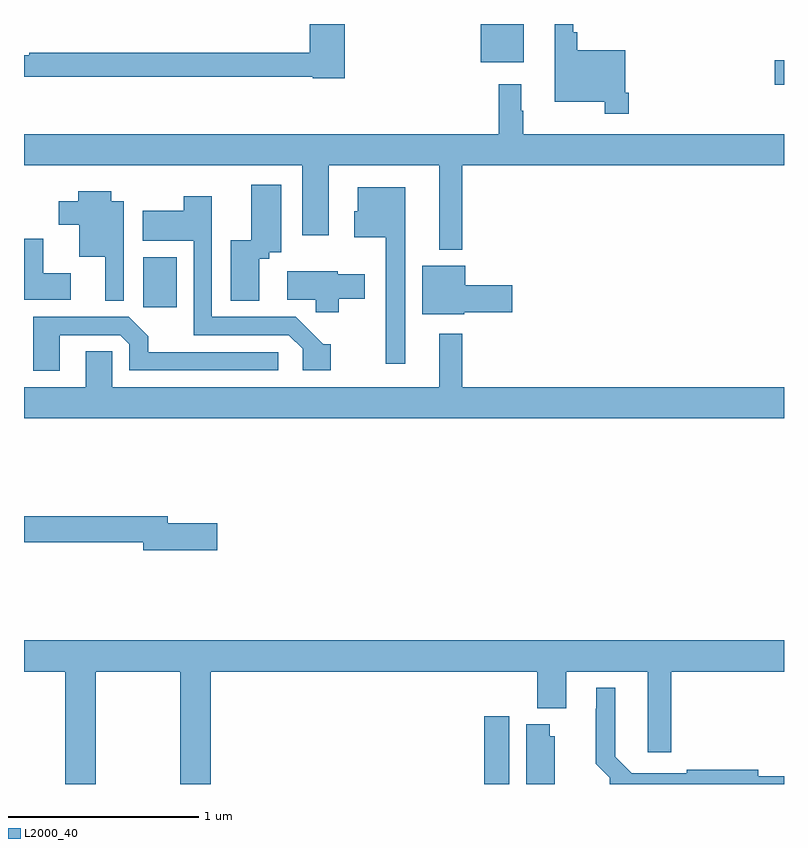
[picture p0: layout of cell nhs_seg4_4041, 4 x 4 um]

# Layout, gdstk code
import gdstk
lib = gdstk.Library(unit=1e-6, precision=1e-09)
def R(c, l, rs):  # rectangles x0, y0, x1, y1
    for r in rs: c.add(gdstk.rectangle(r[:2], r[2:], *l))
def P(c, l, *ps):  # polygons
    for p in ps: c.add(gdstk.Polygon(p, *l))
L2000_40 = (2000, 40)

nhs_seg4_4041 = lib.new_cell('nhs_seg4_4041')
R(nhs_seg4_4041, L2000_40, [(327.422,790.9,327.553,791.257), (325.628,793.409,325.804,793.672), (328.95,794.579,329,794.709), (327.404,794.699,327.631,794.9)])
P(nhs_seg4_4041, L2000_40, [(326.687,794.9),(326.504,794.9),(326.504,794.75),(325.028,794.75),(325.028,794.735),(325,794.735),(325,794.622),(326.52,794.622),(326.52,794.614),(326.687,794.614)],
  [(328.184,794.539),(328.164,794.539),(328.164,794.761),(327.911,794.761),(327.911,794.857),(327.891,794.857),(327.891,794.9),(327.794,794.9),(327.794,794.492),(328.056,794.492),(328.056,794.427),(328.184,794.427)],
  [(327.307,794.156),(329,794.156),(329,794.32),(327.628,794.32),(327.628,794.444),(327.616,794.444),(327.616,794.584),(327.499,794.584),(327.499,794.32),(325,794.32),(325,794.156),(326.465,794.156),(326.465,793.788),(326.605,793.788),(326.605,794.156),(327.185,794.156),(327.185,793.712),(327.307,793.712)],
  [(326.239,793.665),(326.292,793.665),(326.292,793.7),(326.353,793.7),(326.353,794.053),(326.195,794.053),(326.195,793.761),(326.087,793.761),(326.087,793.444),(326.239,793.444)],
  [(327.007,794.041),(326.756,794.041),(326.756,793.914),(326.738,793.914),(326.738,793.778),(326.903,793.778),(326.903,793.113),(327.007,793.113)],
  [(325.524,793.966),(325.458,793.966),(325.458,794.02),(325.285,794.02),(325.285,793.966),(325.184,793.966),(325.184,793.844),(325.292,793.844),(325.292,793.676),(325.427,793.676),(325.427,793.444),(325.524,793.444)],
  [(326.614,793.214),(326.575,793.214),(326.43,793.359),(325.989,793.359),(325.989,793.993),(325.84,793.993),(325.84,793.918),(325.625,793.918),(325.625,793.76),(325.893,793.76),(325.893,793.263),(326.394,793.263),(326.466,793.191),(326.466,793.077),(326.614,793.077)],
  [(325.246,793.588),(325.102,793.588),(325.102,793.771),(325,793.771),(325,793.448),(325.246,793.448)],
  [(327.318,793.384),(327.571,793.384),(327.571,793.526),(327.322,793.526),(327.322,793.627),(327.095,793.627),(327.095,793.373),(327.318,793.373)],
  [(326.656,793.453),(326.794,793.453),(326.794,793.582),(326.652,793.582),(326.652,793.6),(326.385,793.6),(326.385,793.448),(326.535,793.448),(326.535,793.383),(326.656,793.383)],
  [(325.189,793.263),(325.506,793.263),(325.554,793.215),(325.554,793.077),(326.338,793.077),(326.338,793.173),(325.653,793.173),(325.653,793.257),(325.551,793.359),(325.049,793.359),(325.049,793.074),(325.189,793.074)],
  [(329,792.988),(327.307,792.988),(327.307,793.27),(327.185,793.27),(327.185,792.988),(325.464,792.988),(325.464,793.178),(325.325,793.178),(325.325,792.988),(325,792.988),(325,792.824),(329,792.824)],
  [(326.017,792.272),(325.756,792.272),(325.756,792.308),(325,792.308),(325,792.172),(325.628,792.172),(325.628,792.13),(326.017,792.13)],
  [(325.377,791.492),(325.822,791.492),(325.822,790.9),(325.982,790.9),(325.982,791.492),(327.701,791.492),(327.701,791.3),(327.853,791.3),(327.853,791.492),(328.283,791.492),(328.283,791.067),(328.406,791.067),(328.406,791.492),(329,791.492),(329,791.656),(325,791.656),(325,791.492),(325.217,791.492),(325.217,790.9),(325.377,790.9)],
  [(329,790.94),(328.864,790.94),(328.864,790.976),(328.489,790.976),(328.489,790.956),(328.198,790.956),(328.111,791.044),(328.111,791.407),(328.013,791.407),(328.013,791.297),(328.009,791.297),(328.009,791.006),(328.083,790.932),(328.083,790.9),(329,790.9)],
  [(327.793,791.151),(327.766,791.151),(327.766,791.215),(327.644,791.215),(327.644,790.9),(327.793,790.9)])

lib.write_gds('nhs_seg4_4041.gds')
